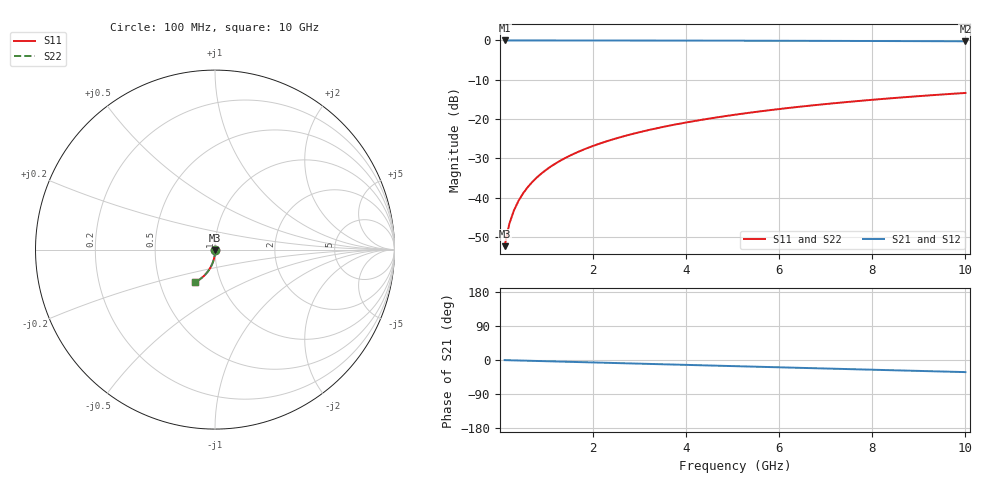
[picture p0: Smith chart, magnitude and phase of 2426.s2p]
# Hz S RI R 50.00
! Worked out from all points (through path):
!   100 points, 100 MHz to 10 GHz, reference 50 ohm
!   highest |S21| = -0.01 dB at 100 MHz (marker M1); lowest = -0.2 dB at 10 GHz (marker M2)
!   group delay of S21, straight-line fit = 8.88 ps
!   lowest |S11| = -52.3 dB at 100 MHz (marker M3), VSWR 1.00, Z = 50.1 - j0.229 ohm
!   |S11| at or under -10 dB: start of sweep to end of sweep
!   |S22| runs from -52.3 to -13.4 dB; largest |S21 - S12| = 0
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1e8  0.000796 -0.00228  0.9992 -0.00562  0.9992 -0.00562  0.000796 -0.00228
2e8  0.00076 -0.00457  0.9991 -0.0112  0.9991 -0.0112  0.00076 -0.00457
3e8  0.000696 -0.00685  0.999 -0.0169  0.999 -0.0169  0.000696 -0.00685
4e8  0.000606 -0.00914  0.9989 -0.0225  0.9989 -0.0225  0.000606 -0.00914
5e8  0.000489 -0.0114  0.9987 -0.0281  0.9987 -0.0281  0.000489 -0.0114
6e8  0.000347 -0.0137  0.9985 -0.0337  0.9985 -0.0337  0.000347 -0.0137
7e8  0.000179 -0.016  0.9982 -0.0393  0.9982 -0.0393  0.000179 -0.016
8e8  -1.52e-05 -0.0183  0.998 -0.0449  0.998 -0.0449  -1.52e-05 -0.0183
9e8  -0.000235 -0.0205  0.9976 -0.0505  0.9976 -0.0505  -0.000235 -0.0205
1.1e9  -0.000751 -0.0251  0.9969 -0.0617  0.9969 -0.0617  -0.000751 -0.0251
1.4e9  -0.00172 -0.0319  0.9955 -0.0785  0.9955 -0.0785  -0.00172 -0.0319
1.8e9  -0.00336 -0.0409  0.9931 -0.1009  0.9931 -0.1009  -0.00336 -0.0409
2.1e9  -0.00486 -0.0475  0.991 -0.1176  0.991 -0.1176  -0.00486 -0.0475
2.5e9  -0.0072 -0.0564  0.9876 -0.1397  0.9876 -0.1397  -0.0072 -0.0564
2.9e9  -0.00994 -0.0651  0.9836 -0.1618  0.9836 -0.1618  -0.00994 -0.0651
3.4e9  -0.0139 -0.0758  0.9779 -0.1892  0.9779 -0.1892  -0.0139 -0.0758
4.2e9  -0.0215 -0.0924  0.9669 -0.2325  0.9669 -0.2325  -0.0215 -0.0924
5.1e9  -0.0317 -0.1102  0.9519 -0.2803  0.9519 -0.2803  -0.0317 -0.1102
5.9e9  -0.0422 -0.125  0.9363 -0.3218  0.9363 -0.3218  -0.0422 -0.125
6.7e9  -0.054 -0.1388  0.9188 -0.3623  0.9188 -0.3623  -0.054 -0.1388
8.4e9  -0.0826 -0.1642  0.8754 -0.4443  0.8754 -0.4443  -0.0826 -0.1642
1e10  -0.1132 -0.1826  0.8276 -0.516  0.8276 -0.516  -0.1132 -0.1826
